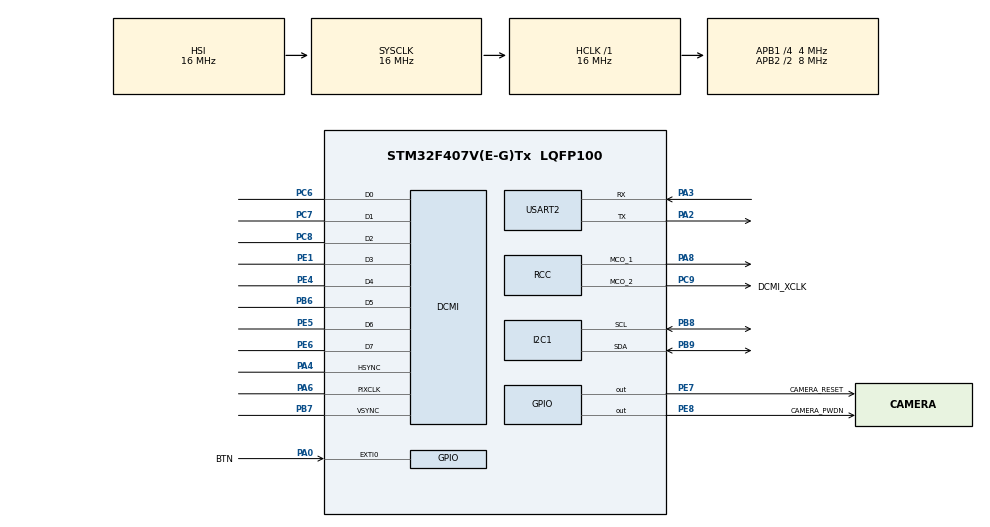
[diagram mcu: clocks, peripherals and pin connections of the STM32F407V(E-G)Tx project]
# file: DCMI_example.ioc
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DCMI.HSPolarity=DCMI_HSPOLARITY_LOW
DCMI.JPEGMode=DCMI_JPEG_DISABLE
DCMI.PCKPolarity=DCMI_PCKPOLARITY_RISING
DCMI.VSPolarity=DCMI_VSPOLARITY_HIGH
Dma.DCMI.0.Direction=DMA_PERIPH_TO_MEMORY
Dma.DCMI.0.FIFOMode=DMA_FIFOMODE_DISABLE
Dma.DCMI.0.Instance=DMA2_Stream1
Dma.DCMI.0.MemDataAlignment=DMA_MDATAALIGN_WORD
Dma.DCMI.0.MemInc=DMA_MINC_ENABLE
Dma.DCMI.0.Mode=DMA_NORMAL
Dma.DCMI.0.PeriphDataAlignment=DMA_PDATAALIGN_WORD
Dma.DCMI.0.PeriphInc=DMA_PINC_DISABLE
Dma.DCMI.0.Priority=DMA_PRIORITY_VERY_HIGH
Dma.Request0=DCMI
Dma.Request1=USART2_TX
Dma.USART2_TX.1.Direction=DMA_MEMORY_TO_PERIPH
Dma.USART2_TX.1.FIFOMode=DMA_FIFOMODE_ENABLE
Dma.USART2_TX.1.FIFOThreshold=DMA_FIFO_THRESHOLD_FULL
Dma.USART2_TX.1.Instance=DMA1_Stream6
Dma.USART2_TX.1.MemBurst=DMA_MBURST_SINGLE
Dma.USART2_TX.1.MemDataAlignment=DMA_MDATAALIGN_BYTE
Dma.USART2_TX.1.MemInc=DMA_MINC_ENABLE
Dma.USART2_TX.1.Mode=DMA_NORMAL
Dma.USART2_TX.1.PeriphBurst=DMA_PBURST_SINGLE
Dma.USART2_TX.1.PeriphDataAlignment=DMA_PDATAALIGN_BYTE
Dma.USART2_TX.1.PeriphInc=DMA_PINC_DISABLE
Dma.USART2_TX.1.Priority=DMA_PRIORITY_VERY_HIGH
Mcu.Family=STM32F4
Mcu.Name=STM32F407V(E-G)Tx
Mcu.Package=LQFP100
NVIC.DCMI_IRQn=true\:0\:0\:false\:false\:true\:true\:true
NVIC.DMA1_Stream6_IRQn=true\:0\:0\:false\:false\:true\:false\:true
NVIC.DMA2_Stream1_IRQn=true\:0\:0\:false\:false\:true\:false\:true
NVIC.PriorityGroup=NVIC_PRIORITYGROUP_4
NVIC.USART2_IRQn=true\:0\:0\:false\:false\:true\:true\:true
PA0-WKUP.GPIO_Label=BTN
PA0-WKUP.Signal=GPXTI0
PA2.Mode=Asynchronous
PA2.Signal=USART2_TX
PA3.Mode=Asynchronous
PA3.Signal=USART2_RX
PA4.GPIO_PuPd=GPIO_PULLDOWN
PA4.GPIO_Speed=GPIO_SPEED_FREQ_VERY_HIGH
PA4.Mode=Slave_8_bits_External_Synchro
PA4.Signal=DCMI_HSYNC
PA6.GPIO_PuPd=GPIO_PULLDOWN
PA6.GPIO_Speed=GPIO_SPEED_FREQ_VERY_HIGH
PA6.Mode=Slave_8_bits_External_Synchro
PA6.Signal=DCMI_PIXCLK
PA8.GPIO_Speed=GPIO_SPEED_FREQ_VERY_HIGH
PA8.Mode=Clock-out-1
PA8.Signal=RCC_MCO_1
PB6.GPIO_PuPd=GPIO_PULLDOWN
PB6.GPIO_Speed=GPIO_SPEED_FREQ_VERY_HIGH
PB6.Mode=Slave_8_bits_External_Synchro
PB6.Signal=DCMI_D5
PB7.GPIO_PuPd=GPIO_PULLDOWN
PB7.GPIO_Speed=GPIO_SPEED_FREQ_VERY_HIGH
PB7.Mode=Slave_8_bits_External_Synchro
PB7.Signal=DCMI_VSYNC
PB8.GPIO_Pu=GPIO_PULLUP
PB8.Mode=I2C
PB8.Signal=I2C1_SCL
PB9.GPIO_Pu=GPIO_PULLUP
PB9.Mode=I2C
PB9.Signal=I2C1_SDA
PC6.GPIO_PuPd=GPIO_PULLDOWN
PC6.GPIO_Speed=GPIO_SPEED_FREQ_VERY_HIGH
PC6.Mode=Slave_8_bits_External_Synchro
PC6.Signal=DCMI_D0
PC7.GPIO_PuPd=GPIO_PULLDOWN
PC7.GPIO_Speed=GPIO_SPEED_FREQ_VERY_HIGH
PC7.Mode=Slave_8_bits_External_Synchro
PC7.Signal=DCMI_D1
PC8.GPIO_PuPd=GPIO_PULLDOWN
PC8.GPIO_Speed=GPIO_SPEED_FREQ_VERY_HIGH
PC8.Mode=Slave_8_bits_External_Synchro
PC8.Signal=DCMI_D2
PC9.GPIO_Label=DCMI_XCLK
PC9.GPIO_Speed=GPIO_SPEED_FREQ_VERY_HIGH
PC9.Mode=Clock-out-2
PC9.Signal=RCC_MCO_2
PE1.GPIO_PuPd=GPIO_PULLDOWN
PE1.GPIO_Speed=GPIO_SPEED_FREQ_VERY_HIGH
PE1.Mode=Slave_8_bits_External_Synchro
PE1.Signal=DCMI_D3
PE4.GPIO_PuPd=GPIO_PULLDOWN
PE4.GPIO_Speed=GPIO_SPEED_FREQ_VERY_HIGH
PE4.Mode=Slave_8_bits_External_Synchro
PE4.Signal=DCMI_D4
PE5.GPIO_PuPd=GPIO_PULLDOWN
PE5.GPIO_Speed=GPIO_SPEED_FREQ_VERY_HIGH
PE5.Mode=Slave_8_bits_External_Synchro
PE5.Signal=DCMI_D6
PE6.GPIO_PuPd=GPIO_PULLDOWN
PE6.GPIO_Speed=GPIO_SPEED_FREQ_VERY_HIGH
PE6.Mode=Slave_8_bits_External_Synchro
PE6.Signal=DCMI_D7
PE7.GPIO_Label=CAMERA_RESET
PE7.GPIO_PuPd=GPIO_PULLUP
PE7.PinState=GPIO_PIN_SET
PE7.Signal=GPIO_Output
PE8.GPIO_Label=CAMERA_PWDN
PE8.Signal=GPIO_Output
ProjectManager.HeapSize=0x200
ProjectManager.StackSize=0x400
ProjectManager.TargetToolchain=STM32CubeIDE
RCC.48MHZClocksFreq_Value=167500000
RCC.AHBFreq_Value=16000000
RCC.APB1CLKDivider=RCC_HCLK_DIV4
RCC.APB1Freq_Value=4000000
RCC.APB1TimFreq_Value=8000000
RCC.APB2CLKDivider=RCC_HCLK_DIV2
RCC.APB2Freq_Value=8000000
RCC.APB2TimFreq_Value=16000000
RCC.CortexFreq_Value=16000000
RCC.HCLKFreq_Value=16000000
RCC.HSE_VALUE=25000000
RCC.HSI_VALUE=16000000
RCC.LSE_VALUE=32768
RCC.PLLM=8
RCC.PLLN=335
RCC.RCC_MCO2Source=RCC_MCO2SOURCE_PLLI2SCLK
RCC.RCC_MCODiv2=RCC_MCODIV_5
RCC.SYSCLKFreq_VALUE=16000000
RCC.VCOOutputFreq_Value=670000000
USART2.VirtualMode=VM_ASYNC
VP_LIBJPEG_VS_JPEGLIB.Mode=Enabled
board=custom

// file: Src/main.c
/* USER CODE BEGIN Header */
/**
  ******************************************************************************
  * @file           : main.c
  * @brief          : Main program body
  ******************************************************************************
  * @attention
  *
  * Copyright (c) 2022 STMicroelectronics.
  * All rights reserved.
  *
  * This software is licensed under terms that can be found in the LICENSE file
  * in the root directory of this software component.
  * If no LICENSE file comes with this software, it is provided AS-IS.
  *
  ******************************************************************************
  */
/* USER CODE END Header */
#include "main.h"
#include "libjpeg.h"

/* USER CODE BEGIN Includes */
#include <stdio.h>
#include <stdarg.h>
#include <string.h>
#include "ov7670.h"
/* USER CODE END Includes */

/* USER CODE BEGIN PM */
#define FRAME_BUFFER 0xF0000000

/* USER CODE END PM */

DCMI_HandleTypeDef hdcmi;
DMA_HandleTypeDef hdma_dcmi;

I2C_HandleTypeDef hi2c1;

UART_HandleTypeDef huart2;
DMA_HandleTypeDef hdma_usart2_tx;

/* USER CODE BEGIN PV */

uint8_t frameBuffer[15000] = { 0 };
ushort mutex = 0;
uint16_t bufferPointer = 0;
ushort headerFound = 0;

/* USER CODE END PV */

void SystemClock_Config(void);
void PeriphCommonClock_Config(void);
static void MX_GPIO_Init(void);
static void MX_DMA_Init(void);
static void MX_DCMI_Init(void);
static void MX_I2C1_Init(void);
static void MX_USART2_UART_Init(void);

/* USER CODE BEGIN 0 */
void vprint(const char *fmt, va_list argp) {
	char string[200];
	if (0 < vsprintf(string, fmt, argp)) // build string
			{
		HAL_UART_Transmit(&huart2, (uint8_t*) string, strlen(string), 0xffffff); // send message via UART
	}
}

void my_printf(const char *fmt, ...) // custom printf() function
{
	va_list argp;
	va_start(argp, fmt);
	vprint(fmt, argp);
	va_end(argp);
}
/* USER CODE END 0 */

int main(void)
{

  /* MCU Configuration--------------------------------------------------------*/

  /* Reset of all peripherals, Initializes the Flash interface and the Systick. */
  HAL_Init();

  /* Configure the system clock */
  SystemClock_Config();

/* Configure the peripherals common clocks */
  PeriphCommonClock_Config();

  /* Initialize all configured peripherals */
  MX_GPIO_Init();
  MX_DMA_Init();
  MX_DCMI_Init();
  MX_I2C1_Init();
  MX_USART2_UART_Init();
  MX_LIBJPEG_Init();
  /* USER CODE BEGIN 2 */
  OV7670_Init(&hi2c1, &hdcmi);
  	HAL_Delay(100);
  	OV7670_ResolutionOptions(15534);
  	HAL_Delay(100);
  	/*
  uint32_t frame_size = 0x9600;
  	int buff_size;
  	buff_size = frame_size *3;
  	//volatile uint32_t dma_buff[buff_size];
  	__HAL_DCMI_ENABLE_IT(&hdcmi, DCMI_IT_FRAME);
  	HAL_DCMI_Start_DMA(&hdcmi, DCMI_MODE_SNAPSHOT, (uint32_t)FRAME_BUFFER, frame_size);
	*/
#ifdef DEBUG
	my_printf("Finishing configuration \r\n");
#endif

  /* USER CODE END 2 */

  /* Infinite loop */
  /* USER CODE BEGIN WHILE */
  while (1)
  {
	  if (HAL_GPIO_ReadPin(BTN_GPIO_Port, BTN_Pin)) {
	  			if (mutex == 1) {
	  				memset(frameBuffer, 0, sizeof frameBuffer);
	  				OV7670_CaptureSnapshot((uint32_t) frameBuffer, 12672); // QCIF 176*144 /2 //OV7670_QVGA_WIDTH * OV7670_QVGA_HEIGHT/2
	  				//HAL_Delay(10000);
	  				/*
	  				for(int i = 0; i < 11535; i++){
	  					bufferPointer++;
	  				}*/
	  				/*
	  				while (1) {
	  					if (headerFound == 0 && frameBuffer[bufferPointer] == 0xFF
	  							&& frameBuffer[bufferPointer + 1] == 0xD8) {
	  						headerFound = 1;
	  					#ifdef DEBUG
	  						my_printf("Found header of JPEG file \r\n");
	  					#endif
	  					}
	  					if (headerFound == 1 && frameBuffer[bufferPointer] == 0xFF
	  							&& frameBuffer[bufferPointer + 1] == 0xD9) {
	  						bufferPointer = bufferPointer + 2;
	  					#ifdef DEBUG
	  						my_printf("Found EOF of JPEG file \r\n");
	  						#endif
	  						headerFound = 0;
	  						break;
	  					}

	  					if (bufferPointer >= 65535) {
	  						break;
	  					}
	  					bufferPointer++;
	  				}*/
	  					#ifdef DEBUG
	  						my_printf("Image size: %d bytes \r\n",bufferPointer);
	  					#endif

	  				HAL_UART_Transmit_DMA(&huart2, frameBuffer, 15000); //Use of DMA may be necessary for larger data streams.
	  				bufferPointer = 0;
	  				mutex = 0;
	  			}
	  		} else {
	  			mutex = 1;
	  		}
    /* USER CODE END WHILE */

  }
}

void SystemClock_Config(void)
{
  RCC_OscInitTypeDef RCC_OscInitStruct = {0};
  RCC_ClkInitTypeDef RCC_ClkInitStruct = {0};

  /** Macro to configure the PLL multiplication factor
  */
  __HAL_RCC_PLL_PLLM_CONFIG(8);
  /** Macro to configure the PLL clock source
  */
  __HAL_RCC_PLL_PLLSOURCE_CONFIG(RCC_PLLSOURCE_HSI);
  /** Configure the main internal regulator output voltage
  */
  __HAL_RCC_PWR_CLK_ENABLE();
  __HAL_PWR_VOLTAGESCALING_CONFIG(PWR_REGULATOR_VOLTAGE_SCALE1);
  /** Initializes the RCC Oscillators according to the specified parameters
  * in the RCC_OscInitTypeDef structure.
  */
  RCC_OscInitStruct.OscillatorType = RCC_OSCILLATORTYPE_HSI;
  RCC_OscInitStruct.HSIState = RCC_HSI_ON;
  RCC_OscInitStruct.HSICalibrationValue = RCC_HSICALIBRATION_DEFAULT;
  RCC_OscInitStruct.PLL.PLLState = RCC_PLL_NONE;
  RCC_OscInitStruct.PLL.PLLSource = RCC_PLLSOURCE_HSI;
  if (HAL_RCC_OscConfig(&RCC_OscInitStruct) != HAL_OK)
  {
    Error_Handler();
  }
  /** Initializes the CPU, AHB and APB buses clocks
  */
  RCC_ClkInitStruct.ClockType = RCC_CLOCKTYPE_HCLK|RCC_CLOCKTYPE_SYSCLK
                              |RCC_CLOCKTYPE_PCLK1|RCC_CLOCKTYPE_PCLK2;
  RCC_ClkInitStruct.SYSCLKSource = RCC_SYSCLKSOURCE_HSI;
  RCC_ClkInitStruct.AHBCLKDivider = RCC_SYSCLK_DIV1;
  RCC_ClkInitStruct.APB1CLKDivider = RCC_HCLK_DIV4;
  RCC_ClkInitStruct.APB2CLKDivider = RCC_HCLK_DIV2;

  if (HAL_RCC_ClockConfig(&RCC_ClkInitStruct, FLASH_LATENCY_0) != HAL_OK)
  {
    Error_Handler();
  }
  HAL_RCC_MCOConfig(RCC_MCO1, RCC_MCO1SOURCE_HSI, RCC_MCODIV_1);
  HAL_RCC_MCOConfig(RCC_MCO2, RCC_MCO2SOURCE_PLLI2SCLK, RCC_MCODIV_5);
}

void PeriphCommonClock_Config(void)
{
  RCC_PeriphCLKInitTypeDef PeriphClkInitStruct = {0};

  /** Initializes the peripherals clock
  */
  PeriphClkInitStruct.PeriphClockSelection = RCC_PERIPHCLK_PLLI2S;
  PeriphClkInitStruct.PLLI2S.PLLI2SN = 192;
  PeriphClkInitStruct.PLLI2S.PLLI2SR = 2;
  if (HAL_RCCEx_PeriphCLKConfig(&PeriphClkInitStruct) != HAL_OK)
  {
    Error_Handler();
  }
}

static void MX_DCMI_Init(void)
{

  hdcmi.Instance = DCMI;
  hdcmi.Init.SynchroMode = DCMI_SYNCHRO_HARDWARE;
  hdcmi.Init.PCKPolarity = DCMI_PCKPOLARITY_RISING;
  hdcmi.Init.VSPolarity = DCMI_VSPOLARITY_HIGH;
  hdcmi.Init.HSPolarity = DCMI_HSPOLARITY_LOW;
  hdcmi.Init.CaptureRate = DCMI_CR_ALL_FRAME;
  hdcmi.Init.ExtendedDataMode = DCMI_EXTEND_DATA_8B;
  hdcmi.Init.JPEGMode = DCMI_JPEG_DISABLE;
  if (HAL_DCMI_Init(&hdcmi) != HAL_OK)
  {
    Error_Handler();
  }

}

static void MX_I2C1_Init(void)
{

  hi2c1.Instance = I2C1;
  hi2c1.Init.ClockSpeed = 100000;
  hi2c1.Init.DutyCycle = I2C_DUTYCYCLE_2;
  hi2c1.Init.OwnAddress1 = 0;
  hi2c1.Init.AddressingMode = I2C_ADDRESSINGMODE_7BIT;
  hi2c1.Init.DualAddressMode = I2C_DUALADDRESS_DISABLE;
  hi2c1.Init.OwnAddress2 = 0;
  hi2c1.Init.GeneralCallMode = I2C_GENERALCALL_DISABLE;
  hi2c1.Init.NoStretchMode = I2C_NOSTRETCH_DISABLE;
  if (HAL_I2C_Init(&hi2c1) != HAL_OK)
  {
    Error_Handler();
  }

}

static void MX_USART2_UART_Init(void)
{

  huart2.Instance = USART2;
  huart2.Init.BaudRate = 115200;
  huart2.Init.WordLength = UART_WORDLENGTH_8B;
  huart2.Init.StopBits = UART_STOPBITS_1;
  huart2.Init.Parity = UART_PARITY_NONE;
  huart2.Init.Mode = UART_MODE_TX_RX;
  huart2.Init.HwFlowCtl = UART_HWCONTROL_NONE;
  huart2.Init.OverSampling = UART_OVERSAMPLING_16;
  if (HAL_UART_Init(&huart2) != HAL_OK)
  {
    Error_Handler();
  }

}

static void MX_DMA_Init(void)
{

  /* DMA controller clock enable */
  __HAL_RCC_DMA2_CLK_ENABLE();
  __HAL_RCC_DMA1_CLK_ENABLE();

  /* DMA interrupt init */
  /* DMA1_Stream6_IRQn interrupt configuration */
  HAL_NVIC_SetPriority(DMA1_Stream6_IRQn, 0, 0);
  HAL_NVIC_EnableIRQ(DMA1_Stream6_IRQn);
  /* DMA2_Stream1_IRQn interrupt configuration */
  HAL_NVIC_SetPriority(DMA2_Stream1_IRQn, 0, 0);
  HAL_NVIC_EnableIRQ(DMA2_Stream1_IRQn);

}

static void MX_GPIO_Init(void)
{
  GPIO_InitTypeDef GPIO_InitStruct = {0};

  /* GPIO Ports Clock Enable */
  __HAL_RCC_GPIOE_CLK_ENABLE();
  __HAL_RCC_GPIOA_CLK_ENABLE();
  __HAL_RCC_GPIOC_CLK_ENABLE();
  __HAL_RCC_GPIOB_CLK_ENABLE();

  /*Configure GPIO pin Output Level */
  HAL_GPIO_WritePin(CAMERA_RESET_GPIO_Port, CAMERA_RESET_Pin, GPIO_PIN_SET);

  /*Configure GPIO pin Output Level */
  HAL_GPIO_WritePin(CAMERA_PWDN_GPIO_Port, CAMERA_PWDN_Pin, GPIO_PIN_RESET);

  /*Configure GPIO pin : BTN_Pin */
  GPIO_InitStruct.Pin = BTN_Pin;
  GPIO_InitStruct.Mode = GPIO_MODE_IT_RISING;
  GPIO_InitStruct.Pull = GPIO_NOPULL;
  HAL_GPIO_Init(BTN_GPIO_Port, &GPIO_InitStruct);

  /*Configure GPIO pin : CAMERA_RESET_Pin */
  GPIO_InitStruct.Pin = CAMERA_RESET_Pin;
  GPIO_InitStruct.Mode = GPIO_MODE_OUTPUT_PP;
  GPIO_InitStruct.Pull = GPIO_PULLUP;
  GPIO_InitStruct.Speed = GPIO_SPEED_FREQ_LOW;
  HAL_GPIO_Init(CAMERA_RESET_GPIO_Port, &GPIO_InitStruct);

  /*Configure GPIO pin : CAMERA_PWDN_Pin */
  GPIO_InitStruct.Pin = CAMERA_PWDN_Pin;
  GPIO_InitStruct.Mode = GPIO_MODE_OUTPUT_PP;
  GPIO_InitStruct.Pull = GPIO_NOPULL;
  GPIO_InitStruct.Speed = GPIO_SPEED_FREQ_LOW;
  HAL_GPIO_Init(CAMERA_PWDN_GPIO_Port, &GPIO_InitStruct);

  /*Configure GPIO pin : DCMI_XCLK_Pin */
  GPIO_InitStruct.Pin = DCMI_XCLK_Pin;
  GPIO_InitStruct.Mode = GPIO_MODE_AF_PP;
  GPIO_InitStruct.Pull = GPIO_NOPULL;
  GPIO_InitStruct.Speed = GPIO_SPEED_FREQ_VERY_HIGH;
  GPIO_InitStruct.Alternate = GPIO_AF0_MCO;
  HAL_GPIO_Init(DCMI_XCLK_GPIO_Port, &GPIO_InitStruct);

  /*Configure GPIO pin : PA8 */
  GPIO_InitStruct.Pin = GPIO_PIN_8;
  GPIO_InitStruct.Mode = GPIO_MODE_AF_PP;
  GPIO_InitStruct.Pull = GPIO_NOPULL;
  GPIO_InitStruct.Speed = GPIO_SPEED_FREQ_VERY_HIGH;
  GPIO_InitStruct.Alternate = GPIO_AF0_MCO;
  HAL_GPIO_Init(GPIOA, &GPIO_InitStruct);

}

void Error_Handler(void)
{
  __disable_irq();
  while (1)
  {
  }
}
